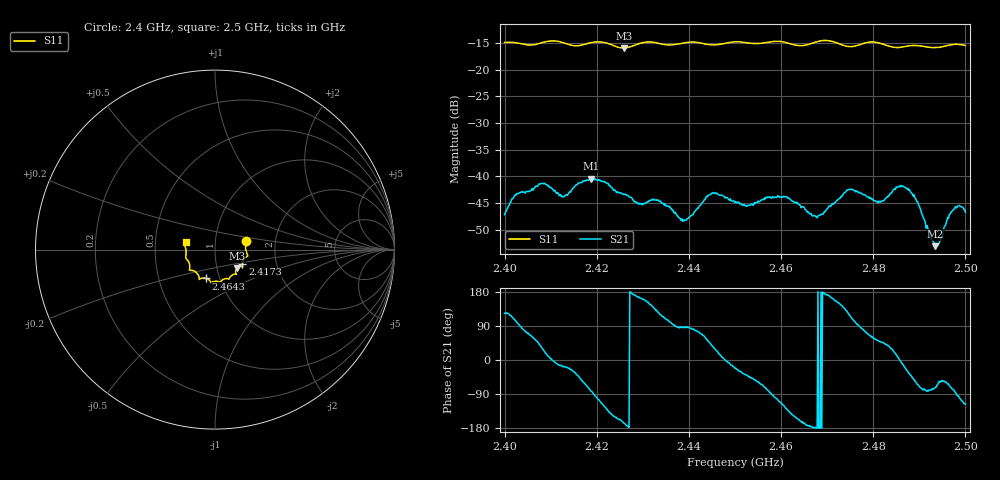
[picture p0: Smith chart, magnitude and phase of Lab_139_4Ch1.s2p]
# Hz S RI R 50
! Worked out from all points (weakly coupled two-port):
!   601 points, 2.4 GHz to 2.5 GHz, reference 50 ohm
!   highest |S21| = -40.42 dB at 2.4188 GHz (marker M1); lowest = -53.1 dB at 2.4935 GHz (marker M2)
!   lowest |S11| = -15.9 dB at 2.4258 GHz (marker M3), VSWR 1.38, Z = 62.3 - j13.3 ohm
!   |S11| at or under -10 dB: start of sweep to end of sweep
!   S12 and S22 are empty: the file has one direction only
!   S11 on the Smith chart (normalised r, x): 2.4 GHz: 1.41, +0.14; 2.4173 GHz: 1.34, -0.23; 2.4643 GHz: 0.86, -0.29; 2.5 GHz: 0.72, +0.06
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2.4e9  0.1733 0.0491  -0.00239 0.00366  0 0  0 0
2.4025e9  0.175 0.038  -0.00131 0.00654  0 0  0 0
2.407833e9  0.1771 -0.0195  0.00682 0.00512  0 0  0 0
2.412833e9  0.1745 -0.0401  0.00614 -0.00186  0 0  0 0
2.416667e9  0.153 -0.0742  0.00535 -0.00692  0 0  0 0
2.417333e9  0.1525 -0.0817  0.00432 -0.00803  0 0  0 0
2.418833e9  0.1535 -0.094  0.00121 -0.00945  0 0  0 0
2.425833e9  0.1216 -0.1038  -0.00656 -0.0016  0 0  0 0
2.433333e9  0.1128 -0.1368  -0.00349 0.00488  0 0  0 0
2.438833e9  0.0809 -0.1585  0.00033 0.00388  0 0  0 0
2.445e9  0.0559 -0.162  0.00549 0.00429  0 0  0 0
2.45e9  0.0291 -0.1806  0.00525 -0.00214  0 0  0 0
2.460667e9  -0.0249 -0.1801  -0.00339 -0.00547  0 0  0 0
2.464333e9  -0.0497 -0.1608  -0.00482 -0.0016  0 0  0 0
2.466667e9  -0.0759 -0.1597  -0.00432 -0.000337  0 0  0 0
2.474833e9  -0.1046 -0.1277  -0.00362 0.00662  0 0  0 0
2.481167e9  -0.142 -0.1085  0.00373 0.00452  0 0  0 0
2.483333e9  -0.1404 -0.0901  0.00526 0.00403  0 0  0 0
2.488e9  -0.1603 -0.0509  0.00567 -0.00452  0 0  0 0
2.4935e9  -0.1611 -0.0078  0.000702 -0.0021  0 0  0 0
2.497333e9  -0.1703 0.0281  0.00104 -0.0047  0 0  0 0
2.5e9  -0.1635 0.0419  -0.00202 -0.00415  0 0  0 0
